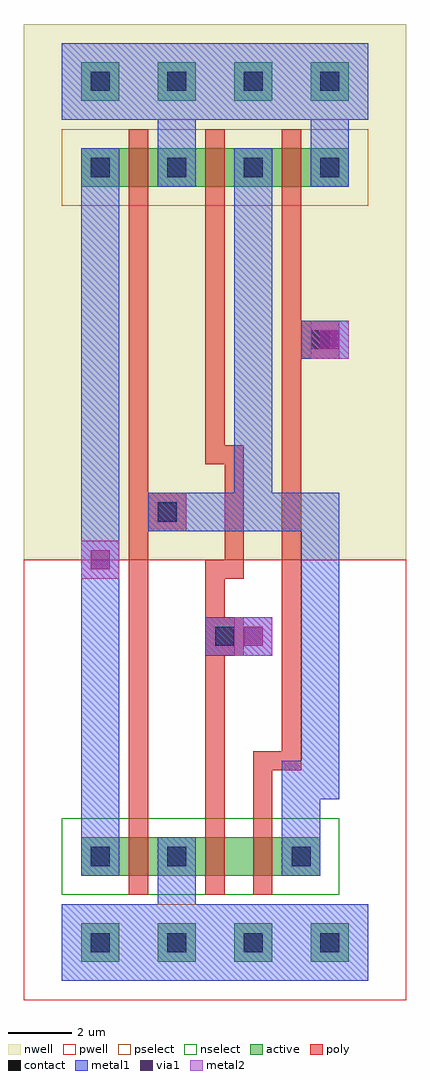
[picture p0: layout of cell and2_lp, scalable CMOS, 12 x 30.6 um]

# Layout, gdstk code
import gdstk
lib = gdstk.Library(unit=1e-6, precision=1e-09)
def R(c, l, rs):  # rectangles x0, y0, x1, y1
    for r in rs: c.add(gdstk.rectangle(r[:2], r[2:], *l))
def A(c, l, x, y, w, h, nx, ny, dx, dy):  # array of equal rectangles
    R(c, l, [(x+i*dx, y+j*dy, x+i*dx+w, y+j*dy+h) for i in range(nx) for j in range(ny)])
contact = (25, 0)
pwell = (41, 0)
nwell = (42, 0)
active = (43, 0)
pselect = (44, 0)
nselect = (45, 0)
poly = (46, 0)
metal1 = (49, 0)
via1 = (50, 0)
metal2 = (51, 0)

and2_lp = lib.new_cell('and2_lp')
A(and2_lp, contact, 0.3, -0.3, 0.6, 0.6, 4, 2, 2.4, 24.3)
A(and2_lp, contact, 0.3, 26.7, 0.6, 0.6, 4, 1, 2.4, 0)
R(and2_lp, contact, [(0.3,2.4,0.9,3), (2.7,2.4,3.3,3), (6.6,2.4,7.2,3), (4.2,9.3,4.8,9.9), (2.4,13.2,3,13.8), (7.2,18.6,7.8,19.2)])
A(and2_lp, pwell, -0.9, -1.5, 3, 3, 4, 1, 2.4, 0)
R(and2_lp, pwell, [(-1.8,-1.8,10.2,12), (-1.8,0.3,3,5.1), (-1.2,0.3,4.8,5.1), (0.6,0.3,5.4,5.1), (1.2,0.3,7.2,5.1), (2.325,0.3,7.575,4.8), (2.7,0.3,8.7,5.1), (4.5,0.3,9.3,5.1), (-1.65,0.45,2.925,4.95), (0.675,0.45,5.25,4.95), (0.675,0.45,5.175,5.1), (0.75,0.45,5.325,4.95), (4.575,0.45,9.15,4.95)])
A(and2_lp, nwell, -1.8, 21.9, 4.8, 4.8, 4, 1, 2.4, 0)
A(and2_lp, nwell, -1.2, 21.9, 6, 4.8, 3, 1, 2.4, 0)
A(and2_lp, nwell, -0.9, 25.5, 3, 3, 4, 1, 2.4, 0)
R(and2_lp, nwell, [(-1.8,12,10.2,28.8), (3.15,21.9,7.725,26.4), (3.15,21.9,7.65,26.7), (5.475,21.9,10.05,26.4), (-1.65,22.05,2.925,26.55), (0.675,22.2,5.25,26.7), (0.75,22.2,5.325,26.7), (3.075,22.2,7.65,26.7)])
A(and2_lp, active, 0, -0.6, 1.2, 1.2, 4, 2, 2.4, 24.3)
A(and2_lp, active, 0.6, 23.7, 2.4, 1.2, 3, 1, 2.4, 0)
A(and2_lp, active, 0, 26.4, 1.2, 1.2, 4, 1, 2.4, 0)
R(and2_lp, active, [(0,2.1,1.2,3.3), (0.6,2.1,3,3.3), (2.4,2.1,3.6,3.3), (3,2.1,5.4,3.3), (4.125,2.1,5.775,3), (4.5,2.1,6.9,3.3), (6.3,2.1,7.5,3.3), (0.15,2.25,1.125,3.15), (2.475,2.25,3.45,3.15), (2.475,2.25,3.375,3.3), (2.55,2.25,3.525,3.15), (6.375,2.25,7.35,3.15), (4.95,23.7,5.925,24.6), (4.95,23.7,5.85,24.9), (7.275,23.7,8.25,24.6), (0.15,23.85,1.125,24.75), (2.475,24,3.45,24.9), (2.55,24,3.525,24.9), (4.875,24,5.85,24.9)])
A(and2_lp, pselect, -0.6, -1.2, 2.4, 2.4, 4, 2, 2.4, 24.3)
A(and2_lp, pselect, 0, 23.1, 3.6, 2.4, 3, 1, 2.4, 0)
R(and2_lp, pselect, [(4.35,23.1,6.525,25.2), (4.35,23.1,6.45,25.5), (6.675,23.1,8.85,25.2), (-0.45,23.25,1.725,25.35), (1.875,23.4,4.05,25.5), (1.95,23.4,4.125,25.5), (4.275,23.4,6.45,25.5)])
A(and2_lp, nselect, -0.6, 25.8, 2.4, 2.4, 4, 1, 2.4, 0)
R(and2_lp, nselect, [(-0.6,1.5,1.8,3.9), (0,1.5,3.6,3.9), (1.8,1.5,4.2,3.9), (2.4,1.5,6,3.9), (3.525,1.5,6.375,3.6), (3.9,1.5,7.5,3.9), (5.7,1.5,8.1,3.9), (-0.45,1.65,1.725,3.75), (1.875,1.65,4.05,3.75), (1.875,1.65,3.975,3.9), (1.95,1.65,4.125,3.75), (5.775,1.65,7.95,3.75)])
A(and2_lp, poly, 1.5, 23.1, 0.6, 2.4, 3, 1, 2.4, 0)
R(and2_lp, poly, [(1.5,1.5,2.1,3.9), (3.9,1.5,4.5,3.9), (5.4,1.5,6,3.9), (1.5,3.6,2.1,13.8), (3.9,3.6,4.5,10.05), (5.4,3.6,6,6), (5.4,5.4,6.9,6), (6.3,5.4,6.9,19.2), (3.9,9,5.1,10.2), (3.9,9.45,4.8,10.05), (3.9,9.45,4.5,12), (3.9,11.4,5.1,12), (4.5,11.4,5.1,15.6), (2.1,12.9,3.3,14.1), (1.5,13.2,2.1,23.4), (1.5,13.2,3,13.8), (3.9,15,4.5,23.4), (3.9,15,5.1,15.6), (6.9,18.3,8.1,19.5), (6.3,18.6,7.8,19.2), (6.3,18.6,6.9,23.4)])
A(and2_lp, metal1, -0.6, -1.2, 4.8, 2.4, 3, 1, 2.4, 0)
A(and2_lp, metal1, 0, -0.6, 1.2, 1.2, 4, 2, 2.4, 24.3)
A(and2_lp, metal1, 0, 26.4, 1.2, 1.2, 4, 1, 2.4, 0)
R(and2_lp, metal1, [(-0.6,-1.2,1.8,1.2), (-0.6,-1.2,4.2,1.2), (2.4,-0.6,3.6,3.3), (0,2.1,1.2,3.3), (0,2.1,1.2,12.6), (2.4,2.1,3.6,3.3), (6.3,2.1,7.5,3.3), (6.3,2.1,7.5,5.7), (6.3,4.5,8.1,5.7), (6.9,4.5,8.1,14.1), (3.9,9,5.1,10.2), (3.9,9,5.1,10.2), (3.9,9,6,10.2), (4.8,9,6,10.2), (0,11.4,1.2,12.6), (0,11.4,1.2,24.9), (2.1,12.9,3.3,14.1), (2.1,12.9,6,14.1), (4.8,12.9,6,24.9), (4.8,12.9,8.1,14.1), (6.9,18.3,8.1,19.5), (6.9,18.3,8.1,19.5), (7.2,18.3,8.4,19.5), (2.4,23.7,3.6,27.6), (7.2,23.7,8.4,27.6), (-0.6,25.8,1.8,28.2), (-0.6,25.8,4.2,28.2), (1.8,25.8,9,28.2), (0,26.4,1.2,27.6), (4.8,26.4,8.4,27.6), (7.2,26.4,8.4,27.6)])
R(and2_lp, via1, [(5.1,9.3,5.7,9.9), (0.3,11.7,0.9,12.3), (7.5,18.6,8.1,19.2)])
R(and2_lp, metal2, [(4.8,9,6,10.2), (0,11.4,1.2,12.6), (7.2,18.3,8.4,19.5)])

lib.write_gds('and2_lp.gds')
